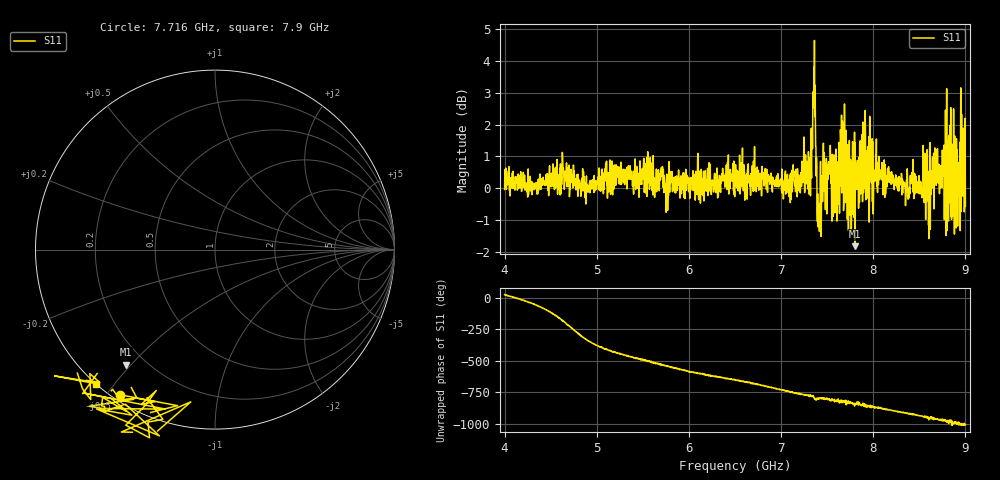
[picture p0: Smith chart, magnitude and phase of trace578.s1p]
! Created with skrf 1.8.0 (http://scikit-rf.org).
# Hz S RI R 50.0
!freq ReS11 ImS11
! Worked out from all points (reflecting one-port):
!   1601 points, 4 GHz to 9 GHz, reference 50 ohm
!   lowest |S11| = -1.8 dB at 7.8 GHz (marker M1), VSWR 9.60, Z = 6.44 - j24.1 ohm
!   phase of S11 starts at 27 deg and turns -1035 deg over the sweep
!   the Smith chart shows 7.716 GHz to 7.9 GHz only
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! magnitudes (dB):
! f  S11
! 4 GHz  0.0
! 4.625 GHz  1.1
! 4.894 GHz  0.1
! 5.25 GHz  0.7
! 5.875 GHz  -0.1
! 6.5 GHz  0.3
! 7.125 GHz  0.2
! 7.297 GHz  1.1
! 7.316 GHz  0.7
! 7.35 GHz  2.5
! 7.369 GHz  3.2
! 7.397 GHz  -0.2
! 7.412 GHz  -0.7
! 7.45 GHz  -0.4
! 7.516 GHz  0.8
! 7.591 GHz  0.4
! 7.669 GHz  1.7
! 7.75 GHz  0.3
! 7.8 GHz  -1.8
! 7.903 GHz  1.2
! 8.375 GHz  -0.2
! 8.566 GHz  0.5
! 8.612 GHz  1.3
! 8.656 GHz  1.1
! 8.819 GHz  -0.4
! 8.919 GHz  -0.1
! 8.972 GHz  0.6
! 9 GHz  -0.6
